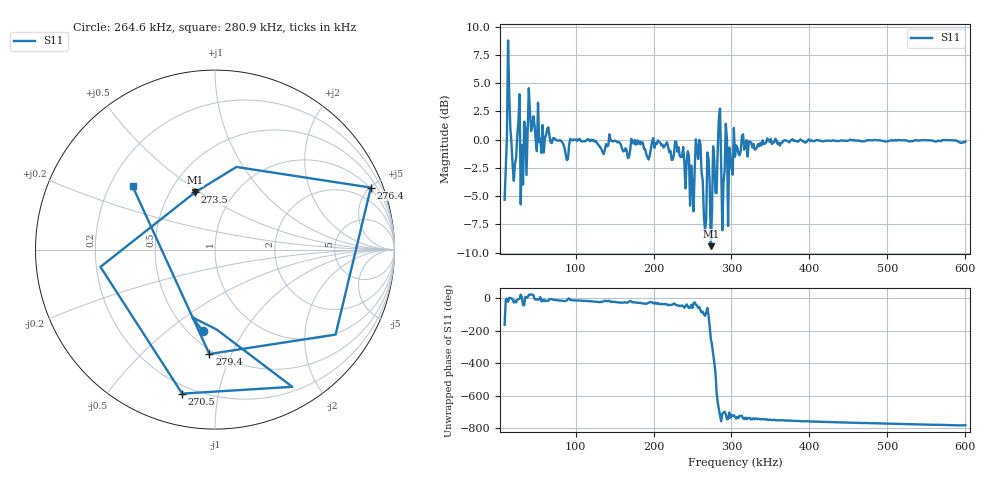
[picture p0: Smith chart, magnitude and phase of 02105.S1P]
!Agilent Technologies,E5071C,MY46100305,A.07.02
!Date: Fri Jan 01 02:45:22 1988
!Data & Calibration Information:
!Freq	S11:SOLT1(ON)
# Hz S MA R 50
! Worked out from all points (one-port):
!   401 points, 9 kHz to 600 kHz, reference 50 ohm
!   lowest |S11| = -9.4 dB at 273.5 kHz (marker M1), VSWR 2.02, Z = 33.2 + j23.9 ohm
!   |S11| at or under -10 dB: nowhere
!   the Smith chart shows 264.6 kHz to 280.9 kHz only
!   S11 on the Smith chart (normalised r, x): 264.6 kHz: 0.59, -0.67; 270.5 kHz: 0.16, -0.79; 273.5 kHz: 0.66, +0.48; 276.4 kHz: 0.93, +5.05; 279.4 kHz: 0.47, -0.83; 280.9 kHz: 0.29, +0.31
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9000  0.5421 -163.7
11955  1.02 -2.2
14910  1.589 1.9
20820  0.6578 -27.2
25253  1.043 -9.7
28208  1.588 -3.7
35595  1.124 8.0
38550  1.108 4.4
42983  1.091 21.9
50370  0.8885 -5.9
82875  0.9734 -15.9
156750  0.968 -26.6
230625  0.8844 -44.0
248355  0.7683 -41.4
255743  0.9189 -45.0
260175  0.9552 -72.6
264608  0.4575 -98.6
270518  0.8231 -102.8
273473  0.3379 109.1
276428  0.9344 21.7
279383  0.5826 -93.1
280860  0.5796 142.4
286770  0.7721 -36.0
304500  0.8395 -8.6
378375  1.003 -33.8
452250  1 -44.6
526125  0.9869 -54.2
600000  0.9792 -60.6
